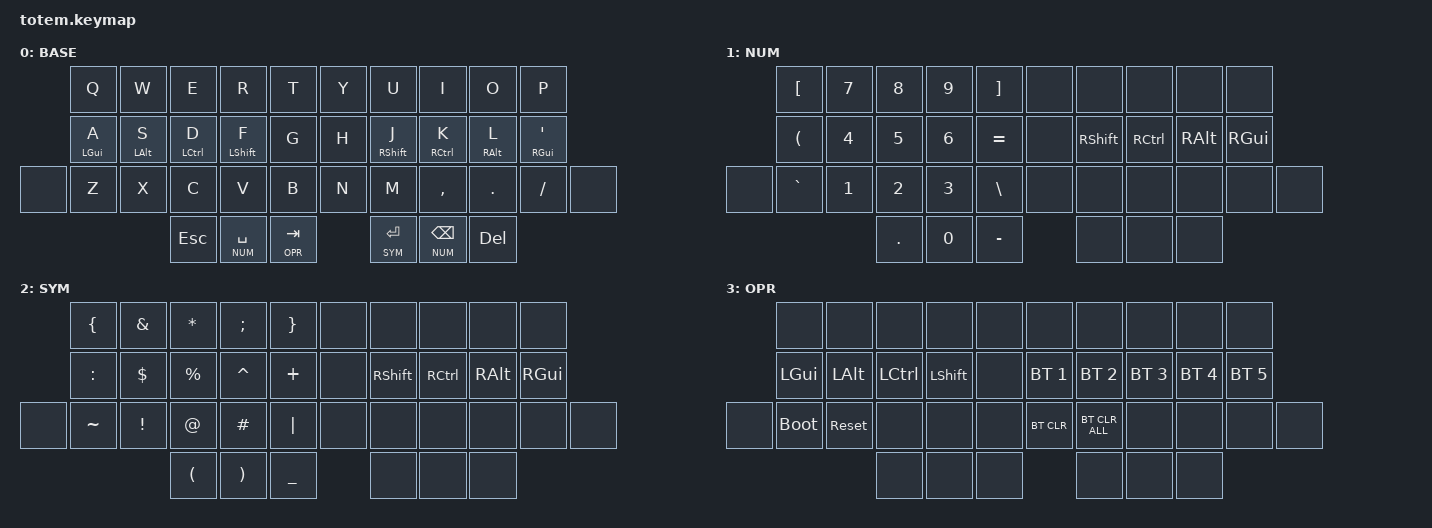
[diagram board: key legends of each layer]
//
//                                                        ▀▀▀▀▀     ▀▀▀▀▀          ▀▀█▀▀
//                                                        ▄▀▀▀▄  ▄  ▄▀▀▀▄  ▄  ▄▀▀▀▄  █  ▄▀▀▀▄
//                                                        █   █  █  █   █  █  █   █  █  █   █
//                                                         ▀▀▀   █   ▀▀▀   █   ▀▀▀   ▀   ▀▀▀
//                                                               █      ▄▄▄█▄▄▄    █   █  
//                                                               ▀      █  █  █     █▄█
//                                                             ▀▀▀▀▀    █  █  █      ▀
//                                                                      ▀  ▀  ▀
//
// ▄▄▄▄▄▄▄▄▄▄▄▄▄▄▄▄▄▄▄▄▄▄▄▄▄▄▄▄▄▄▄▄▄▄▄▄▄▄▄▄▄▄▄▄▄▄▄▄▄▄▄▄▄▄▄▄▄▄▄▄▄▄▄▄▄▄▄▄▄▄▄▄▄▄▄▄▄▄▄▄▄▄▄▄▄▄▄▄▄▄▄▄▄▄▄▄▄▄▄▄▄▄▄▄▄▄▄▄▄▄▄▄▄▄▄▄▄▄▄▄▄▄▄▄▄▄▄▄▄▄▄▄▄▄▄▄▄▄▄▄▄▄▄▄▄▄▄▄▄
       

#include <behaviors.dtsi>
#include <dt-bindings/zmk/keys.h>
#include <dt-bindings/zmk/bt.h>
#include <dt-bindings/zmk/outputs.h>

#define BASE 0
#define NUM  1
#define SYM  2
#define OPR  3


&mt {
  quick-tap-ms = <100>;
  global-quick-tap;
  flavor = "tap-preferred";
  tapping-term-ms = <170>;
};

/ {
     combos {
            compatible = "zmk,combos";
            combo_esc {
                timeout-ms = <50>;
                key-positions = <0 1>;
                bindings = <&kp ESC>;
            };
    };

    macros {
    };

        keymap {
                compatible = "zmk,keymap";
// ▄▄▄▄▄▄▄▄▄▄▄▄▄▄▄▄▄▄▄▄▄▄▄▄▄▄▄▄▄▄▄▄▄▄▄▄▄▄▄▄▄▄▄▄▄▄▄▄▄▄▄▄▄▄▄▄▄▄▄▄▄▄▄▄▄▄▄▄▄▄▄▄▄▄▄▄▄▄▄▄▄▄▄▄▄▄▄▄▄▄▄▄▄▄▄▄▄▄▄▄▄▄▄▄▄▄▄▄▄▄▄▄▄▄▄▄▄▄▄▄▄▄▄▄▄▄▄▄▄▄▄▄▄▄▄▄▄▄▄▄▄▄▄▄▄▄▄▄▄

                base_layer {
// ┏━━━━━━━━━━━━━━━━━━━━━━━━━━━━━━━━━━━━━━━┓
label= "BASE"                              ;
// ┗━━━━━━━━━━━━━━━━━━━━━━━━━━━━━━━━━━━━━━━┛
//             ┏━━━━━━━━━━━┳━━━━━━━━━━━┳━━━━━━━━━━━┳━━━━━━━━━━━┳━━━━━━━━━━━┓   ┏━━━━━━━━━━━┳━━━━━━━━━━━┳━━━━━━━━━━━┳━━━━━━━━━━━┳━━━━━━━━━━━┓
//             ┃     Q     ┃     W     ┃     F     ┃     P     ┃     G     ┃   ┃     J     ┃     L     ┃     U     ┃     Y     ┃     ;     ┃
//             ┣━━━━━━━━━━━╋━━━━━━━━━━━╋━━━━━━━━━━━╋━━━━━━━━━━━╋━━━━━━━━━━━┫   ┣━━━━━━━━━━━╋━━━━━━━━━━━╋━━━━━━━━━━━╋━━━━━━━━━━━╋━━━━━━━━━━━┫
//             ┃     A     ┃     R     ┃     S     ┃     T     ┃     D     ┃   ┃     H     ┃     N     ┃     E     ┃     I     ┃     O     ┃
// ┏━━━━━━━━━━━╋━━━━━━━━━━━╋━━━━━━━━━━━╋━━━━━━━━━━━╋━━━━━━━━━━━╋━━━━━━━━━━━┫   ┣━━━━━━━━━━━╋━━━━━━━━━━━╋━━━━━━━━━━━╋━━━━━━━━━━━╋━━━━━━━━━━━╋━━━━━━━━━━━┓
// ┃     Q     ┃     Z     ┃     X     ┃     C     ┃     V     ┃     B     ┃   ┃     K     ┃     M     ┃     ,     ┃     .     ┃     /     ┃     \     ┃
// ┗━━━━━━━━━━━┻━━━━━━━━━━━┻━━━━━━━━━━━╋━━━━━━━━━━━╋━━━━━━━━━━━╋━━━━━━━━━━━┫   ┣━━━━━━━━━━━╋━━━━━━━━━━━╋━━━━━━━━━━━╋━━━━━━━━━━━┻━━━━━━━━━━━┻━━━━━━━━━━━┛
//                                     ┃    DEL    ┃    TAB    ┃    SPC    ┃   ┃   ENTER   ┃           ┃   BSPC    ┃
//                                     ┗━━━━━━━━━━━┻━━━━━━━━━━━┻━━━━━━━━━━━┛   ┗━━━━━━━━━━━┻━━━━━━━━━━━┻━━━━━━━━━━━┛
 bindings = <
// ╷           ╷           ╷           ╷           ╷           ╷           ╷   ╷           ╷           ╷           ╷           ╷           ╷           ╷

                &kp Q       &kp W       &kp E       &kp R       &kp T           &kp Y       &kp U       &kp I       &kp O       &kp P
                &mt LGUI A  &mt LALT S  &mt LCTRL D &mt LSHFT F &kp G           &kp H       &mt RSHFT J &mt RCTRL K &mt RALT L  &mt RGUI SQT
    &none       &kp Z       &kp X       &kp C       &kp V       &kp B           &kp N       &kp M       &kp COMMA   &kp DOT     &kp FSLH    &none
                                        &kp ESC   &lt NUM SPACE   &lt OPR TAB       &lt SYM RET   &lt NUM BSPC   &kp DEL
                        >;
                };

// ▄▄▄▄▄▄▄▄▄▄▄▄▄▄▄▄▄▄▄▄▄▄▄▄▄▄▄▄▄▄▄▄▄▄▄▄▄▄▄▄▄▄▄▄▄▄▄▄▄▄▄▄▄▄▄▄▄▄▄▄▄▄▄▄▄▄▄▄▄▄▄▄▄▄▄▄▄▄▄▄▄▄▄▄▄▄▄▄▄▄▄▄▄▄▄▄▄▄▄▄▄▄▄▄▄▄▄▄▄▄▄▄▄▄▄▄▄▄▄▄▄▄▄▄▄▄▄▄▄▄▄▄▄▄▄▄▄▄▄▄▄▄▄▄▄▄▄▄▄


                nav_layer {
// ┏━━━━━━━━━━━━━━━━━━━━━━━━━━━━━━━━━━━━━━━┓
label= "NUM"                              ;
// ┗━━━━━━━━━━━━━━━━━━━━━━━━━━━━━━━━━━━━━━━┛
//             ┏━━━━━━━━━━━┳━━━━━━━━━━━┳━━━━━━━━━━━┳━━━━━━━━━━━┳━━━━━━━━━━━┓   ┏━━━━━━━━━━━┳━━━━━━━━━━━┳━━━━━━━━━━━┳━━━━━━━━━━━┳━━━━━━━━━━━┓
//             ┃           ┃           ┃     UP    ┃           ┃     {     ┃   ┃     }     ┃     7     ┃     8     ┃     9     ┃     +     ┃
//             ┣━━━━━━━━━━━╋━━━━━━━━━━━╋━━━━━━━━━━━╋━━━━━━━━━━━╋━━━━━━━━━━━┫   ┣━━━━━━━━━━━╋━━━━━━━━━━━╋━━━━━━━━━━━╋━━━━━━━━━━━╋━━━━━━━━━━━┫
//             ┃   SHIFT   ┃   LEFT    ┃    DOWN   ┃   RIGHT   ┃     [     ┃   ┃     ]     ┃     4     ┃     5     ┃     6     ┃     -     ┃
// ┏━━━━━━━━━━━╋━━━━━━━━━━━╋━━━━━━━━━━━╋━━━━━━━━━━━╋━━━━━━━━━━━╋━━━━━━━━━━━┫   ┣━━━━━━━━━━━╋━━━━━━━━━━━╋━━━━━━━━━━━╋━━━━━━━━━━━╋━━━━━━━━━━━╋━━━━━━━━━━━┓
// ┃           ┃           ┃   P UP    ┃  C LOCK   ┃  P DOWN   ┃     (     ┃   ┃     )     ┃     1     ┃     2     ┃     3     ┃     *     ┃           ┃
// ┗━━━━━━━━━━━┻━━━━━━━━━━━┻━━━━━━━━━━━╋━━━━━━━━━━━╋━━━━━━━━━━━╋━━━━━━━━━━━┫   ┣━━━━━━━━━━━╋━━━━━━━━━━━╋━━━━━━━━━━━╋━━━━━━━━━━━┻━━━━━━━━━━━┻━━━━━━━━━━━┛
//                                     ┃           ┃    TAB    ┃    SPC    ┃   ┃    DEL    ┃     0     ┃           ┃
//                                     ┗━━━━━━━━━━━┻━━━━━━━━━━━┻━━━━━━━━━━━┛   ┗━━━━━━━━━━━┻━━━━━━━━━━━┻━━━━━━━━━━━┛
 bindings = <
// ╷           ╷           ╷           ╷           ╷           ╷           ╷   ╷           ╷           ╷           ╷           ╷           ╷           ╷

                &kp LBKT     &kp N7      &kp N8      &kp N9      &kp RBKT       &none       &none       &none       &none       &none
                &kp LPAR     &kp N4      &kp N5      &kp N6      &kp EQUAL      &none       &kp RSHFT   &kp RCTRL   &kp RALT    &kp RGUI
    &none      &kp GRAVE    &kp N1      &kp N2      &kp N3      &kp BSLH       &none       &none       &none       &none       &none &none      
                                         &kp DOT     &kp N0      &kp MINUS      &none       &none       &none      
                        >;
                };

// ▄▄▄▄▄▄▄▄▄▄▄▄▄▄▄▄▄▄▄▄▄▄▄▄▄▄▄▄▄▄▄▄▄▄▄▄▄▄▄▄▄▄▄▄▄▄▄▄▄▄▄▄▄▄▄▄▄▄▄▄▄▄▄▄▄▄▄▄▄▄▄▄▄▄▄▄▄▄▄▄▄▄▄▄▄▄▄▄▄▄▄▄▄▄▄▄▄▄▄▄▄▄▄▄▄▄▄▄▄▄▄▄▄▄▄▄▄▄▄▄▄▄▄▄▄▄▄▄▄▄▄▄▄▄▄▄▄▄▄▄▄▄▄▄▄▄▄▄▄


                sim_layer {
// ┏━━━━━━━━━━━━━━━━━━━━━━━━━━━━━━━━━━━━━━━┓
label= "SYM"                               ;
// ┗━━━━━━━━━━━━━━━━━━━━━━━━━━━━━━━━━━━━━━━┛
//             ┏━━━━━━━━━━━┳━━━━━━━━━━━┳━━━━━━━━━━━┳━━━━━━━━━━━┳━━━━━━━━━━━┓   ┏━━━━━━━━━━━┳━━━━━━━━━━━┳━━━━━━━━━━━┳━━━━━━━━━━━┳━━━━━━━━━━━┓
//             ┃     !     ┃     @     ┃     #     ┃     $     ┃     %     ┃   ┃     ˆ     ┃     &     ┃     Ü     ┃     '     ┃     "     ┃
//             ┣━━━━━━━━━━━╋━━━━━━━━━━━╋━━━━━━━━━━━╋━━━━━━━━━━━╋━━━━━━━━━━━┫   ┣━━━━━━━━━━━╋━━━━━━━━━━━╋━━━━━━━━━━━╋━━━━━━━━━━━╋━━━━━━━━━━━┫
//             ┃     Ä     ┃           ┃    SZ     ┃           ┃           ┃   ┃   MUTE    ┃   YEN     ┃   EURO    ┃  POUND    ┃     Ö     ┃
// ┏━━━━━━━━━━━╋━━━━━━━━━━━╋━━━━━━━━━━━╋━━━━━━━━━━━╋━━━━━━━━━━━╋━━━━━━━━━━━┫   ┣━━━━━━━━━━━╋━━━━━━━━━━━╋━━━━━━━━━━━╋━━━━━━━━━━━╋━━━━━━━━━━━╋━━━━━━━━━━━┓
// ┃           ┃  EMAIL1   ┃  EMAIL2   ┃           ┃           ┃           ┃   ┃   VOL-    ┃   VOL+    ┃   LAST    ┃   NEXT    ┃     \     ┃           ┃
// ┗━━━━━━━━━━━┻━━━━━━━━━━━┻━━━━━━━━━━━╋━━━━━━━━━━━╋━━━━━━━━━━━╋━━━━━━━━━━━┫   ┣━━━━━━━━━━━╋━━━━━━━━━━━╋━━━━━━━━━━━╋━━━━━━━━━━━┻━━━━━━━━━━━┻━━━━━━━━━━━┛
//                                     ┃           ┃    GIF    ┃    ADJ    ┃   ┃           ┃           ┃           ┃
//                                     ┗━━━━━━━━━━━┻━━━━━━━━━━━┻━━━━━━━━━━━┛   ┗━━━━━━━━━━━┻━━━━━━━━━━━┻━━━━━━━━━━━┛
 bindings = <
// ╷           ╷           ╷           ╷           ╷           ╷           ╷   ╷           ╷           ╷           ╷           ╷           ╷           ╷

                &kp LBRC     &kp AMPS    &kp ASTRK   &kp SEMI    &kp RBRC        &none       &none       &none       &none       &none
                &kp COLON    &kp DLLR    &kp PRCNT   &kp CARET   &kp PLUS        &none       &kp RSHFT   &kp RCTRL   &kp RALT    &kp RGUI
   &none        &kp TILDE    &kp EXCL    &kp AT      &kp HASH    &kp PIPE        &none       &none       &none       &none       &none  &none
                                            &kp LPAR    &kp RPAR    &kp UNDER       &none       &none       &none      
                        >;
                };

// ▄▄▄▄▄▄▄▄▄▄▄▄▄▄▄▄▄▄▄▄▄▄▄▄▄▄▄▄▄▄▄▄▄▄▄▄▄▄▄▄▄▄▄▄▄▄▄▄▄▄▄▄▄▄▄▄▄▄▄▄▄▄▄▄▄▄▄▄▄▄▄▄▄▄▄▄▄▄▄▄▄▄▄▄▄▄▄▄▄▄▄▄▄▄▄▄▄▄▄▄▄▄▄▄▄▄▄▄▄▄▄▄▄▄▄▄▄▄▄▄▄▄▄▄▄▄▄▄▄▄▄▄▄▄▄▄▄▄▄▄▄▄▄▄▄▄▄▄▄
opr_layer {
                label= "OPR";
                bindings = <
                    &none       &none       &none       &none       &none           &none        &none        &none        &none        &none                  
                    &kp LGUI    &kp LALT    &kp LCTRL   &kp LSHFT   &none           &bt BT_SEL 1 &bt BT_SEL 2 &bt BT_SEL 3 &bt BT_SEL 4 &bt BT_SEL 5       
               &none     &bootloader &sys_reset  &none       &none       &none           &bt BT_CLR   &bt BT_CLR_ALL &none       &none        &none  &none
                                            &none       &none       &none           &none        &none        &none               
                >;
            };

               
        };
};
